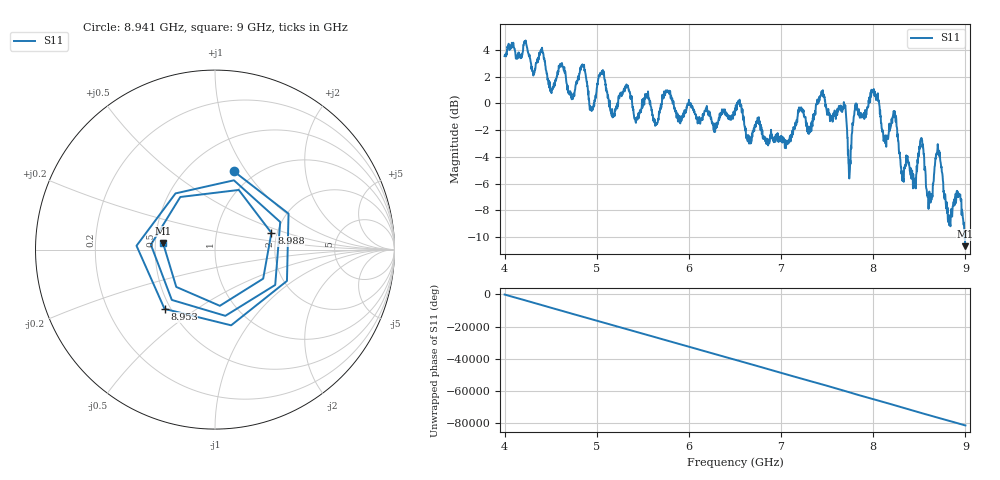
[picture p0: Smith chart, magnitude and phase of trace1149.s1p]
! Created with skrf 1.8.0 (http://scikit-rf.org).
# Hz S RI R 50.0
!freq ReS11 ImS11
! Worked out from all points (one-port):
!   1601 points, 4 GHz to 9 GHz, reference 50 ohm
!   lowest |S11| = -10.7 dB at 9 GHz (marker M1), VSWR 1.83, Z = 27.5 + j2.23 ohm
!   |S11| at or under -10 dB: 8.990407 GHz to end of sweep
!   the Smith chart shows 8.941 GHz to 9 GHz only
!   S11 on the Smith chart (normalised r, x): 8.941 GHz: 0.80, +0.88; 8.953 GHz: 0.46, -0.38; 8.988 GHz: 1.86, +0.39; 9 GHz: 0.55, +0.04
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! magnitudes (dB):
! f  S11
! 4 GHz  3.5
! 4.509 GHz  0.8
! 4.625 GHz  2.9
! 4.731 GHz  0.3
! 4.856 GHz  2.8
! 4.944 GHz  -0.6
! 5.047 GHz  2.3
! 5.169 GHz  -0.8
! 5.25 GHz  0.7
! 5.875 GHz  -0.8
! 6.5 GHz  -0.4
! 6.656 GHz  -2.8
! 7.125 GHz  -2.3
! 7.447 GHz  0.8
! 7.681 GHz  0.1
! 7.75 GHz  -4.3
! 7.809 GHz  0.0
! 7.994 GHz  0.9
! 8.375 GHz  -4.2
! 8.45 GHz  -6.0
! 8.525 GHz  -2.6
! 8.619 GHz  -7.2
! 8.703 GHz  -3.4
! 8.812 GHz  -8.9
! 8.941 GHz  -7.0
! 8.953 GHz  -7.3
! 8.988 GHz  -9.7
! 9 GHz  -10.7
